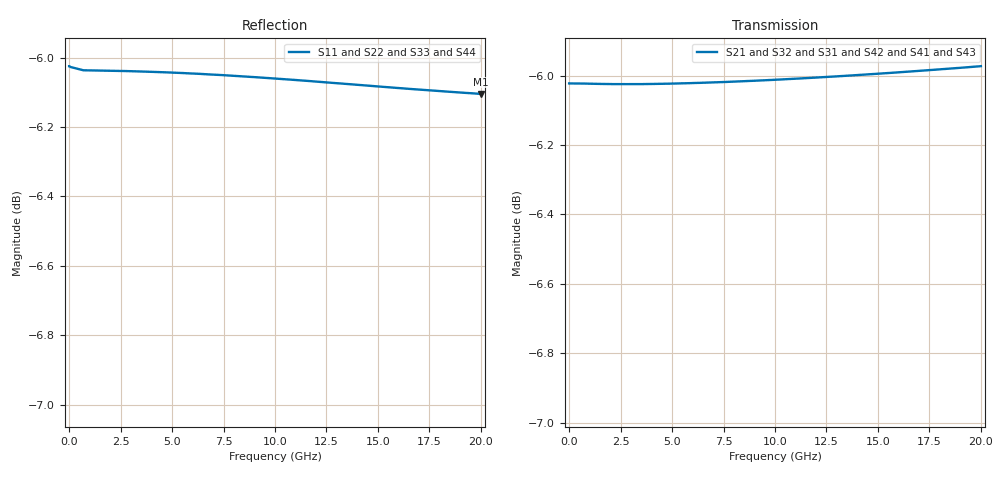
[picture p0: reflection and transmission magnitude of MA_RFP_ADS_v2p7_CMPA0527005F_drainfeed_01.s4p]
! Created Thu Oct 05 12:26:10 2017
! List of port names and net name(s): example Port n = <port_name> <net_name1> <net_name2> ...
! Port 1 = P1 P4
! Port 2 = P2 P4
! Port 3 = P3 P4
! Port 4 = P4 P4
# hz S ma R 50
! 4 Port Network Data from data block
! freq  magS11  angS11  magS12  angS12  magS13  angS13  magS14  angS14
!  magS21  angS21  magS22  angS22  magS23  angS23  magS24  angS24
!  magS31  angS31  magS32  angS32  magS33  angS33  magS34  angS34
!  magS41  angS41  magS42  angS42  magS43  angS43  magS44  angS44
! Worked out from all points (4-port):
!   36 points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, 6.944 Hz to 20 GHz, reference 50 ohm
!   strongest paths, dB at 6.944 Hz, 1.389 GHz, 6.389 GHz, 13.33 GHz, 20 GHz:
!     S21: -6.0, -6.0, -6.0, -6.0, -6.0
!     S32: -6.0, -6.0, -6.0, -6.0, -6.0
!     S31: -6.0, -6.0, -6.0, -6.0, -6.0
!     S42: -6.0, -6.0, -6.0, -6.0, -6.1
!     S41: -6.0, -6.0, -6.0, -6.1, -6.1
!     S43: -6.0, -6.0, -6.0, -6.1, -6.1
!   lowest |S11| = -6.1 dB at 20 GHz (marker M1), VSWR 2.96, Z = 17.3 + j7.72 ohm
!   |S11| at or under -10 dB: nowhere
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6.944444  0.4998 180.0  0.4999 -0.0  0.4999 -0.0  0.5 -0.0
          0.4999 -0.0  0.4998 180.0  0.4999 -0.0  0.5 -0.0
          0.4999 -0.0  0.4999 -0.0  0.4998 180.0  0.5 -0.0
          0.5 -0.0  0.5 -0.0  0.5 -0.0  0.4999 180.0
6.944444e8  0.4991 179.3  0.4999 -0.3  0.4999 -0.7  0.5 -0.2
            0.4999 -0.3  0.4997 179.7  0.4997 -0.2  0.5 -0.1
            0.4999 -0.7  0.4997 -0.2  0.499 179.3  0.5 -0.2
            0.5 -0.2  0.5 -0.1  0.5 -0.2  0.4999 179.9
3.472222e9  0.4989 176.5  0.4998 -1.3  0.4995 -3.3  0.4998 -0.8
            0.4998 -1.3  0.4993 178.6  0.4998 -1.3  0.4999 -0.7
            0.4995 -3.3  0.4998 -1.3  0.4989 176.5  0.4998 -0.8
            0.4998 -0.8  0.4999 -0.7  0.4998 -0.8  0.5001 179.6
5.555556e9  0.4986 174.4  0.4999 -2.0  0.4994 -5.2  0.4996 -1.2
            0.4999 -2.0  0.4989 177.8  0.4999 -2.0  0.4997 -1.1
            0.4994 -5.2  0.4999 -2.0  0.4986 174.4  0.4996 -1.2
            0.4996 -1.2  0.4997 -1.1  0.4996 -1.2  0.5007 179.3
1e10  0.4977 170.0  0.5005 -3.6  0.4996 -9.4  0.4988 -2.2
      0.5005 -3.6  0.4977 176.0  0.5004 -3.6  0.499 -2.0
      0.4996 -9.4  0.5004 -3.6  0.4977 170.0  0.4988 -2.2
      0.4988 -2.2  0.499 -2.0  0.4988 -2.2  0.5028 178.8
1.5e10  0.4964 165.1  0.5015 -5.4  0.4999 -14.0  0.4975 -3.3
        0.5015 -5.4  0.496 174.0  0.5015 -5.4  0.498 -3.0
        0.4999 -14.0  0.5015 -5.4  0.4964 165.1  0.4975 -3.3
        0.4975 -3.3  0.498 -3.0  0.4975 -3.3  0.5062 178.2
2e10  0.4952 160.2  0.5028 -7.1  0.5004 -18.6  0.496 -4.4
      0.5028 -7.1  0.494 172.1  0.5027 -7.2  0.4967 -4.0
      0.5004 -18.6  0.5027 -7.2  0.4951 160.2  0.496 -4.3
      0.496 -4.4  0.4967 -4.0  0.496 -4.3  0.5102 177.7
